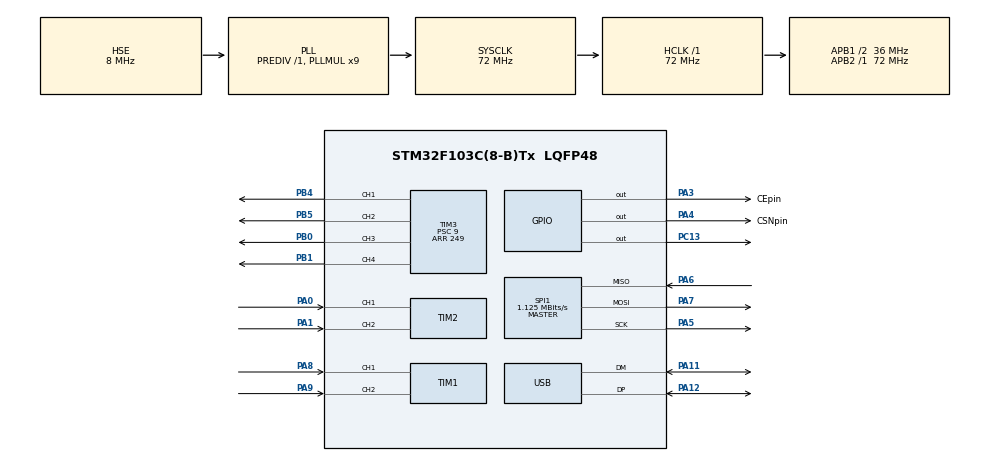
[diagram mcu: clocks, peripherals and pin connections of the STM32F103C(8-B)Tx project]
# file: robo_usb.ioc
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Mcu.Family=STM32F1
Mcu.Name=STM32F103C(8-B)Tx
Mcu.Package=LQFP48
NVIC.PriorityGroup=NVIC_PRIORITYGROUP_4
NVIC.TIM4_IRQn=true\:0\:0\:false\:false\:true\:true\:true\:true
NVIC.USB_LP_CAN1_RX0_IRQn=true\:0\:0\:false\:false\:true\:false\:true\:true
PA0-WKUP.GPIO_PuPd=GPIO_PULLUP
PA0-WKUP.Signal=S_TIM2_CH1_ETR
PA1.GPIO_PuPd=GPIO_PULLUP
PA1.Signal=S_TIM2_CH2
PA11.Mode=Device
PA11.Signal=USB_DM
PA12.Mode=Device
PA12.Signal=USB_DP
PA13.Mode=Trace_Asynchronous_SW
PA13.Signal=SYS_JTMS-SWDIO
PA14.Mode=Trace_Asynchronous_SW
PA14.Signal=SYS_JTCK-SWCLK
PA3.GPIO_Label=CEpin
PA3.Signal=GPIO_Output
PA4.GPIO_Label=CSNpin
PA4.Signal=GPIO_Output
PA5.Mode=Full_Duplex_Master
PA5.Signal=SPI1_SCK
PA6.Mode=Full_Duplex_Master
PA6.Signal=SPI1_MISO
PA7.Mode=Full_Duplex_Master
PA7.Signal=SPI1_MOSI
PA8.GPIO_PuPd=GPIO_PULLUP
PA8.Signal=S_TIM1_CH1
PA9.GPIO_PuPd=GPIO_PULLUP
PA9.Signal=S_TIM1_CH2
PB0.Signal=S_TIM3_CH3
PB1.Signal=S_TIM3_CH4
PB3.Mode=Trace_Asynchronous_SW
PB3.Signal=SYS_JTDO-TRACESWO
PB4.Signal=S_TIM3_CH1
PB5.Signal=S_TIM3_CH2
PC13-TAMPER-RTC.Signal=GPIO_Output
PD0-OSC_IN.Mode=HSE-External-Oscillator
PD0-OSC_IN.Signal=RCC_OSC_IN
PD1-OSC_OUT.Mode=HSE-External-Oscillator
PD1-OSC_OUT.Signal=RCC_OSC_OUT
ProjectManager.HeapSize=0x200
ProjectManager.StackSize=0x400
ProjectManager.TargetToolchain=STM32CubeIDE
RCC.AHBFreq_Value=72000000
RCC.APB1CLKDivider=RCC_HCLK_DIV2
RCC.APB1Freq_Value=36000000
RCC.APB1TimFreq_Value=72000000
RCC.APB2Freq_Value=72000000
RCC.APB2TimFreq_Value=72000000
RCC.HCLKFreq_Value=72000000
RCC.PLLMUL=RCC_PLL_MUL9
RCC.SYSCLKFreq_VALUE=72000000
RCC.SYSCLKSource=RCC_SYSCLKSOURCE_PLLCLK
RCC.USBFreq_Value=48000000
RCC.USBPrescaler=RCC_USBCLKSOURCE_PLL_DIV1_5
SH.S_TIM1_CH1.0=TIM1_CH1,Encoder_Interface
SH.S_TIM1_CH2.0=TIM1_CH2,Encoder_Interface
SH.S_TIM2_CH1_ETR.0=TIM2_CH1,Encoder_Interface
SH.S_TIM2_CH2.0=TIM2_CH2,Encoder_Interface
SH.S_TIM3_CH1.0=TIM3_CH1,PWM Generation1 CH1
SH.S_TIM3_CH2.0=TIM3_CH2,PWM Generation2 CH2
SH.S_TIM3_CH3.0=TIM3_CH3,PWM Generation3 CH3
SH.S_TIM3_CH4.0=TIM3_CH4,PWM Generation4 CH4
SPI1.BaudRatePrescaler=SPI_BAUDRATEPRESCALER_64
SPI1.CalculateBaudRate=1.125 MBits/s
SPI1.Direction=SPI_DIRECTION_2LINES
SPI1.Mode=SPI_MODE_MASTER
SPI1.VirtualType=VM_MASTER
TIM1.EncoderMode=TIM_ENCODERMODE_TI12
TIM2.EncoderMode=TIM_ENCODERMODE_TI12
TIM3.Channel-PWM\ Generation1\ CH1=TIM_CHANNEL_1
TIM3.Channel-PWM\ Generation2\ CH2=TIM_CHANNEL_2
TIM3.Channel-PWM\ Generation3\ CH3=TIM_CHANNEL_3
TIM3.Channel-PWM\ Generation4\ CH4=TIM_CHANNEL_4
TIM3.Period=249
TIM3.Prescaler=9
TIM4.Period=9999
TIM4.Prescaler=71
USB_DEVICE.APP_RX_DATA_SIZE=64
USB_DEVICE.APP_TX_DATA_SIZE=64
USB_DEVICE.CLASS_NAME_FS=CDC
USB_DEVICE.VirtualMode=Cdc
USB_DEVICE.VirtualModeFS=Cdc_FS
VP_TIM4_VS_ClockSourceINT.Mode=Internal
VP_USB_DEVICE_VS_USB_DEVICE_CDC_FS.Mode=CDC_FS
board=custom

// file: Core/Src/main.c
/* USER CODE BEGIN Header */
/**
  ******************************************************************************
  * @file           : main.c
  * @brief          : Main program body
  ******************************************************************************
  * @attention
  *
  * Copyright (c) 2023 STMicroelectronics.
  * All rights reserved.
  *
  * This software is licensed under terms that can be found in the LICENSE file
  * in the root directory of this software component.
  * If no LICENSE file comes with this software, it is provided AS-IS.
  *
  ******************************************************************************
  */
/* USER CODE END Header */
#include "main.h"
#include "usb_device.h"

/* USER CODE BEGIN Includes */
#include "usbd_cdc_if.h"
#include "MY_NRF24.h"
/* USER CODE END Includes */

SPI_HandleTypeDef hspi1;

TIM_HandleTypeDef htim1;
TIM_HandleTypeDef htim2;
TIM_HandleTypeDef htim3;
TIM_HandleTypeDef htim4;

/* USER CODE BEGIN PV */
uint8_t buff_radio = 16;
uint8_t entrada[10]; //buffer para guardar os dados recebidos
uint8_t saida[8]; //buffer para guardar os dados a seren enviados
uint8_t temdados = 0; // tipo um Kbhit aqui (quantos bytes pra ler)
uint8_t comando1 = 0; //pwm do motor 1 de 0 a 250 (28800 KHz)
uint8_t comando2 = 0; //pwm do motor 2 de 0 a 250 (28800 KHz)
uint8_t logica = 0;
short  enc1 = 32000;
short  enc2 = 32000;
short  encvel1 = 0;
short  encvel2 = 0;
short  sp = 0;
uint64_t RxpipeAddrs = 0x11223344AA; // endereço 1 do radio (enviar)
uint64_t TxpipeAddrs = 0x11223344BB; // endereço 2 do radio (receber)
uint8_t myRxData[16]; //colocar o valor de buff_radio
uint8_t myTxData[16]; //colocar o valor de buff_radio
uint8_t cont = 0;
/* USER CODE END PV */

void SystemClock_Config(void);
static void MX_GPIO_Init(void);
static void MX_TIM4_Init(void);
static void MX_SPI1_Init(void);
static void MX_TIM1_Init(void);
static void MX_TIM2_Init(void);
static void MX_TIM3_Init(void);
/* USER CODE BEGIN PFP */
int abs(int);
/* USER CODE END PFP */

int main(void)
{

  /* MCU Configuration--------------------------------------------------------*/

  /* Reset of all peripherals, Initializes the Flash interface and the Systick. */
  HAL_Init();

  /* USER CODE BEGIN Init */
  //HAL_Delay(500); //500 ms antes de começar
  /* USER CODE END Init */

  /* Configure the system clock */
  SystemClock_Config();

  /* Initialize all configured peripherals */
  MX_GPIO_Init();
  MX_USB_DEVICE_Init();
  MX_TIM4_Init();
  MX_SPI1_Init();
  MX_TIM1_Init();
  MX_TIM2_Init();
  MX_TIM3_Init();
  /* USER CODE BEGIN 2 */
  HAL_TIM_Encoder_Start(&htim1, TIM_CHANNEL_ALL);
  HAL_TIM_Encoder_Start(&htim2, TIM_CHANNEL_ALL);
  TIM2->CNT = 32000; //meio de escala da velocidade (velocidade inicial igual a zero)
  TIM1->CNT = 32000; //meio de escala da velocidade (velocidade inicial igual a zero)
  HAL_TIM_PWM_Start(&htim3, TIM_CHANNEL_1); // inicializa o PWM 1  M1
  HAL_TIM_PWM_Start(&htim3, TIM_CHANNEL_2); // inicializa o PWM 2  M1
  HAL_TIM_PWM_Start(&htim3, TIM_CHANNEL_3); // inicializa o PWM 3  M2
  HAL_TIM_PWM_Start(&htim3, TIM_CHANNEL_4); // inicializa o PWM 4  M2
  htim3.Instance->CCR1 = comando1; //pwm do motor 1 de 0 a 250 (28800 KHz)
  htim3.Instance->CCR2 = comando1; //pwm do motor 2 de 0 a 250 (28800 KHz)
  htim3.Instance->CCR3 = comando2; //pwm do motor 1 de 0 a 250 (28800 KHz)
  htim3.Instance->CCR4 = comando2; //pwm do motor 2 de 0 a 250 (28800 KHz)

  HAL_TIM_Base_Start_IT(&htim4);
//  HAL_TIM_Base_Start_IT(&htim2);
 /////////////////////**** RECEPTOR ****///////////////////////////
	NRF24_begin(CSNpin_GPIO_Port,CEpin_GPIO_Port,CSNpin_Pin,CEpin_Pin,hspi1);
	printRadioSettings();
	NRF24_setAutoAck(false);      //Ativar para o caso de reconhecimento
	NRF24_setChannel(52);         //Deve ser o mesmo do receptor
	NRF24_setPayloadSize(buff_radio);
	NRF24_openWritingPipe(TxpipeAddrs);
	NRF24_openReadingPipe(1, RxpipeAddrs);

//    HAL_Delay(500); //500 ms antes de começar
//    HAL_GPIO_TogglePin(GPIOC, GPIO_PIN_13); //pisca led

  /* USER CODE END 2 */

  /* Infinite loop */
  /* USER CODE BEGIN WHILE */
	NRF24_startListening();
	while(cont<buff_radio)
	  {
		myTxData[cont]=0;
		myRxData[cont]=0;
		cont++;
	  }
	  cont = 0;
  while (1)
  {
	 if(NRF24_available()) //verifica se há dados disponíveis
	{
		NRF24_read(myRxData, buff_radio); // Lê dados recebido (32 bytes)
		if (myRxData[0] == 254) //se o pacote chegou na ordem certa
			{
			// aqui falta fazer interpretação da lógica de direção (tá no byte 7 - oitavo)
			logica = myRxData[7];
			comando1 = myRxData[8]; //M1
			comando2 = myRxData[9]; //M2
	 	 	if (logica == 10) //velocidade + +
				{
				  htim3.Instance->CCR1 = comando1; //pwm do motor 1 de 0 a 250 (28800 KHz) M1+
				  htim3.Instance->CCR2 = 0;        //pwm do motor 2 de 0 a 250 (28800 KHz) M1-
				  htim3.Instance->CCR3 = comando2; //pwm do motor 1 de 0 a 250 (28800 KHz) M2+
				  htim3.Instance->CCR4 = 0;        //pwm do motor 2 de 0 a 250 (28800 KHz) M2-
				}
			if (logica == 18) //volocidade + -
				{
				  htim3.Instance->CCR1 = comando1; //pwm do motor 1 de 0 a 250 (28800 KHz) M1+
				  htim3.Instance->CCR2 = 0;        //pwm do motor 2 de 0 a 250 (28800 KHz) M1-
				  htim3.Instance->CCR3 = 0;        //pwm do motor 1 de 0 a 250 (28800 KHz) M2+
				  htim3.Instance->CCR4 = comando2; //pwm do motor 2 de 0 a 250 (28800 KHz) M2-
				}
			if (logica == 12) //velocidade - +
				{
				  htim3.Instance->CCR1 = 0;        //pwm do motor 1 de 0 a 250 (28800 KHz) M1+
				  htim3.Instance->CCR2 = comando1; //pwm do motor 2 de 0 a 250 (28800 KHz) M1-
				  htim3.Instance->CCR3 = comando2; //pwm do motor 1 de 0 a 250 (28800 KHz) M2+
				  htim3.Instance->CCR4 = 0;        //pwm do motor 2 de 0 a 250 (28800 KHz) M2-
				}
			if (logica == 20) //velocidade  - -
				{
				  htim3.Instance->CCR1 = 0;        //pwm do motor 1 de 0 a 250 (28800 KHz) M1+
				  htim3.Instance->CCR2 = comando1; //pwm do motor 2 de 0 a 250 (28800 KHz) M1-
				  htim3.Instance->CCR3 = 0;        //pwm do motor 1 de 0 a 250 (28800 KHz) M2+
				  htim3.Instance->CCR4 = comando2; //pwm do motor 2 de 0 a 250 (28800 KHz) M2-
				}
			}
		HAL_GPIO_TogglePin(GPIOC, GPIO_PIN_13); //pisca led
	}else
	{
		if (entrada[0] == 254) //se o pacote chegou na ordem certa
			{
			// aqui falta fazer interpretação da lógica de direção (tá no byte 7 - oitavo)
			logica = entrada[7];
			comando1 = entrada[8]; //M1
			comando2 = entrada[9]; //M2
	 	 	if (logica == 10) //velocidade + +
				{
				  htim3.Instance->CCR1 = comando1; //pwm do motor 1 de 0 a 250 (28800 KHz) M1+
				  htim3.Instance->CCR2 = 0;        //pwm do motor 2 de 0 a 250 (28800 KHz) M1-
				  htim3.Instance->CCR3 = comando2; //pwm do motor 1 de 0 a 250 (28800 KHz) M2+
				  htim3.Instance->CCR4 = 0;        //pwm do motor 2 de 0 a 250 (28800 KHz) M2-
				}
			if (logica == 18) //volocidade + -
				{
				  htim3.Instance->CCR1 = comando1; //pwm do motor 1 de 0 a 250 (28800 KHz) M1+
				  htim3.Instance->CCR2 = 0;        //pwm do motor 2 de 0 a 250 (28800 KHz) M1-
				  htim3.Instance->CCR3 = 0;        //pwm do motor 1 de 0 a 250 (28800 KHz) M2+
				  htim3.Instance->CCR4 = comando2; //pwm do motor 2 de 0 a 250 (28800 KHz) M2-
				}
			if (logica == 12) //velocidade - +
				{
				  htim3.Instance->CCR1 = 0;        //pwm do motor 1 de 0 a 250 (28800 KHz) M1+
				  htim3.Instance->CCR2 = comando1; //pwm do motor 2 de 0 a 250 (28800 KHz) M1-
				  htim3.Instance->CCR3 = comando2; //pwm do motor 1 de 0 a 250 (28800 KHz) M2+
				  htim3.Instance->CCR4 = 0;        //pwm do motor 2 de 0 a 250 (28800 KHz) M2-
				}
			if (logica == 20) //velocidade  - -
				{
				  htim3.Instance->CCR1 = 0;        //pwm do motor 1 de 0 a 250 (28800 KHz) M1+
				  htim3.Instance->CCR2 = comando1; //pwm do motor 2 de 0 a 250 (28800 KHz) M1-
				  htim3.Instance->CCR3 = 0;        //pwm do motor 1 de 0 a 250 (28800 KHz) M2+
				  htim3.Instance->CCR4 = comando2; //pwm do motor 2 de 0 a 250 (28800 KHz) M2-
				}
			}
	}
	 NRF24_stopListening();
	 myTxData[0] = enc1;
	 myTxData[1] = enc1>>8;
	 myTxData[2] = enc2;
	 myTxData[3] = enc2>>8;
	 myTxData[4] = encvel1;
	 myTxData[5] = encvel1>>8;
	 myTxData[6] = encvel2;
	 myTxData[7] = encvel2>>8;
	 NRF24_write(myTxData, buff_radio);
	 NRF24_startListening();

	 // Envia na serial tbm
	 for(cont = 0; cont < 8; cont++)
		{
		 saida[cont] = myTxData[cont];
		}
	 CDC_Transmit_FS(saida, 8);

/* // código para testar se tá funcionando o acionamento, sem usar o radio (old)
	  if (sp == 1)
	  {
		  htim3.Instance->CCR3 = comando1; //pwm do motor 1 de 0 a 250 (28800 KHz)
		  htim3.Instance->CCR4 = comando2; //pwm do motor 2 de 0 a 250 (28800 KHz)
		  HAL_GPIO_WritePin(GPIOB, GPIO_PIN_12, GPIO_PIN_RESET); //M1_a
		  HAL_GPIO_WritePin(GPIOB, GPIO_PIN_13, GPIO_PIN_SET); //M1_b
		  HAL_GPIO_WritePin(GPIOB, GPIO_PIN_14, GPIO_PIN_RESET); //M2_a
		  HAL_GPIO_WritePin(GPIOB, GPIO_PIN_15, GPIO_PIN_SET); //M2_b
		  HAL_GPIO_TogglePin(GPIOC, GPIO_PIN_13); //pisca led
	  }
	  if (sp == 0)
	  {
		  htim3.Instance->CCR3 = 250; //pwm do motor 1 de 0 a 250 (28800 KHz)
		  htim3.Instance->CCR4 = 250; //pwm do motor 2 de 0 a 250 (28800 KHz)
		  HAL_GPIO_WritePin(GPIOB, GPIO_PIN_12, GPIO_PIN_RESET); //M1_a
		  HAL_GPIO_WritePin(GPIOB, GPIO_PIN_13, GPIO_PIN_SET); //M1_b
		  HAL_GPIO_WritePin(GPIOB, GPIO_PIN_14, GPIO_PIN_RESET); //M2_a
		  HAL_GPIO_WritePin(GPIOB, GPIO_PIN_15, GPIO_PIN_SET); //M2_b
		  HAL_GPIO_TogglePin(GPIOC, GPIO_PIN_13); //pisca led
	  }   */

/* // comandos para enviar direto pela USB no lugar do radio (Raspberry)
    saida[0] = enc1;
	saida[1] = enc1>>8;
	saida[2] = enc2;
	saida[3] = enc2>>8;
	saida[4] = encvel1;
	saida[5] = encvel1>>8;
	saida[6] = encvel2;
	saida[7] = encvel2>>8;
	CDC_Transmit_FS(saida,8);

	*/

    /* USER CODE END WHILE */

    /* USER CODE BEGIN 3 */
  }  // fecha o while(1)
  /* USER CODE END 3 */
}

void SystemClock_Config(void)
{
  RCC_OscInitTypeDef RCC_OscInitStruct = {0};
  RCC_ClkInitTypeDef RCC_ClkInitStruct = {0};
  RCC_PeriphCLKInitTypeDef PeriphClkInit = {0};

  /** Initializes the RCC Oscillators according to the specified parameters
  * in the RCC_OscInitTypeDef structure.
  */
  RCC_OscInitStruct.OscillatorType = RCC_OSCILLATORTYPE_HSE;
  RCC_OscInitStruct.HSEState = RCC_HSE_ON;
  RCC_OscInitStruct.HSEPredivValue = RCC_HSE_PREDIV_DIV1;
  RCC_OscInitStruct.HSIState = RCC_HSI_ON;
  RCC_OscInitStruct.PLL.PLLState = RCC_PLL_ON;
  RCC_OscInitStruct.PLL.PLLSource = RCC_PLLSOURCE_HSE;
  RCC_OscInitStruct.PLL.PLLMUL = RCC_PLL_MUL9;
  if (HAL_RCC_OscConfig(&RCC_OscInitStruct) != HAL_OK)
  {
    Error_Handler();
  }

  /** Initializes the CPU, AHB and APB buses clocks
  */
  RCC_ClkInitStruct.ClockType = RCC_CLOCKTYPE_HCLK|RCC_CLOCKTYPE_SYSCLK
                              |RCC_CLOCKTYPE_PCLK1|RCC_CLOCKTYPE_PCLK2;
  RCC_ClkInitStruct.SYSCLKSource = RCC_SYSCLKSOURCE_PLLCLK;
  RCC_ClkInitStruct.AHBCLKDivider = RCC_SYSCLK_DIV1;
  RCC_ClkInitStruct.APB1CLKDivider = RCC_HCLK_DIV2;
  RCC_ClkInitStruct.APB2CLKDivider = RCC_HCLK_DIV1;

  if (HAL_RCC_ClockConfig(&RCC_ClkInitStruct, FLASH_LATENCY_2) != HAL_OK)
  {
    Error_Handler();
  }
  PeriphClkInit.PeriphClockSelection = RCC_PERIPHCLK_USB;
  PeriphClkInit.UsbClockSelection = RCC_USBCLKSOURCE_PLL_DIV1_5;
  if (HAL_RCCEx_PeriphCLKConfig(&PeriphClkInit) != HAL_OK)
  {
    Error_Handler();
  }
}

static void MX_SPI1_Init(void)
{

  /* SPI1 parameter configuration*/
  hspi1.Instance = SPI1;
  hspi1.Init.Mode = SPI_MODE_MASTER;
  hspi1.Init.Direction = SPI_DIRECTION_2LINES;
  hspi1.Init.DataSize = SPI_DATASIZE_8BIT;
  hspi1.Init.CLKPolarity = SPI_POLARITY_LOW;
  hspi1.Init.CLKPhase = SPI_PHASE_1EDGE;
  hspi1.Init.NSS = SPI_NSS_SOFT;
  hspi1.Init.BaudRatePrescaler = SPI_BAUDRATEPRESCALER_64;
  hspi1.Init.FirstBit = SPI_FIRSTBIT_MSB;
  hspi1.Init.TIMode = SPI_TIMODE_DISABLE;
  hspi1.Init.CRCCalculation = SPI_CRCCALCULATION_DISABLE;
  hspi1.Init.CRCPolynomial = 10;
  if (HAL_SPI_Init(&hspi1) != HAL_OK)
  {
    Error_Handler();
  }

}

static void MX_TIM1_Init(void)
{

  TIM_Encoder_InitTypeDef sConfig = {0};
  TIM_MasterConfigTypeDef sMasterConfig = {0};

  htim1.Instance = TIM1;
  htim1.Init.Prescaler = 0;
  htim1.Init.CounterMode = TIM_COUNTERMODE_UP;
  htim1.Init.Period = 65535;
  htim1.Init.ClockDivision = TIM_CLOCKDIVISION_DIV1;
  htim1.Init.RepetitionCounter = 0;
  htim1.Init.AutoReloadPreload = TIM_AUTORELOAD_PRELOAD_DISABLE;
  sConfig.EncoderMode = TIM_ENCODERMODE_TI12;
  sConfig.IC1Polarity = TIM_ICPOLARITY_RISING;
  sConfig.IC1Selection = TIM_ICSELECTION_DIRECTTI;
  sConfig.IC1Prescaler = TIM_ICPSC_DIV1;
  sConfig.IC1Filter = 0;
  sConfig.IC2Polarity = TIM_ICPOLARITY_RISING;
  sConfig.IC2Selection = TIM_ICSELECTION_DIRECTTI;
  sConfig.IC2Prescaler = TIM_ICPSC_DIV1;
  sConfig.IC2Filter = 0;
  if (HAL_TIM_Encoder_Init(&htim1, &sConfig) != HAL_OK)
  {
    Error_Handler();
  }
  sMasterConfig.MasterOutputTrigger = TIM_TRGO_RESET;
  sMasterConfig.MasterSlaveMode = TIM_MASTERSLAVEMODE_DISABLE;
  if (HAL_TIMEx_MasterConfigSynchronization(&htim1, &sMasterConfig) != HAL_OK)
  {
    Error_Handler();
  }

}

static void MX_TIM2_Init(void)
{

  TIM_Encoder_InitTypeDef sConfig = {0};
  TIM_MasterConfigTypeDef sMasterConfig = {0};

  htim2.Instance = TIM2;
  htim2.Init.Prescaler = 0;
  htim2.Init.CounterMode = TIM_COUNTERMODE_UP;
  htim2.Init.Period = 65535;
  htim2.Init.ClockDivision = TIM_CLOCKDIVISION_DIV1;
  htim2.Init.AutoReloadPreload = TIM_AUTORELOAD_PRELOAD_DISABLE;
  sConfig.EncoderMode = TIM_ENCODERMODE_TI12;
  sConfig.IC1Polarity = TIM_ICPOLARITY_RISING;
  sConfig.IC1Selection = TIM_ICSELECTION_DIRECTTI;
  sConfig.IC1Prescaler = TIM_ICPSC_DIV1;
  sConfig.IC1Filter = 0;
  sConfig.IC2Polarity = TIM_ICPOLARITY_RISING;
  sConfig.IC2Selection = TIM_ICSELECTION_DIRECTTI;
  sConfig.IC2Prescaler = TIM_ICPSC_DIV1;
  sConfig.IC2Filter = 0;
  if (HAL_TIM_Encoder_Init(&htim2, &sConfig) != HAL_OK)
  {
    Error_Handler();
  }
  sMasterConfig.MasterOutputTrigger = TIM_TRGO_RESET;
  sMasterConfig.MasterSlaveMode = TIM_MASTERSLAVEMODE_DISABLE;
  if (HAL_TIMEx_MasterConfigSynchronization(&htim2, &sMasterConfig) != HAL_OK)
  {
    Error_Handler();
  }

}

static void MX_TIM3_Init(void)
{

  TIM_MasterConfigTypeDef sMasterConfig = {0};
  TIM_OC_InitTypeDef sConfigOC = {0};

  htim3.Instance = TIM3;
  htim3.Init.Prescaler = 9;
  htim3.Init.CounterMode = TIM_COUNTERMODE_UP;
  htim3.Init.Period = 249;
  htim3.Init.ClockDivision = TIM_CLOCKDIVISION_DIV1;
  htim3.Init.AutoReloadPreload = TIM_AUTORELOAD_PRELOAD_DISABLE;
  if (HAL_TIM_PWM_Init(&htim3) != HAL_OK)
  {
    Error_Handler();
  }
  sMasterConfig.MasterOutputTrigger = TIM_TRGO_RESET;
  sMasterConfig.MasterSlaveMode = TIM_MASTERSLAVEMODE_DISABLE;
  if (HAL_TIMEx_MasterConfigSynchronization(&htim3, &sMasterConfig) != HAL_OK)
  {
    Error_Handler();
  }
  sConfigOC.OCMode = TIM_OCMODE_PWM1;
  sConfigOC.Pulse = 0;
  sConfigOC.OCPolarity = TIM_OCPOLARITY_HIGH;
  sConfigOC.OCFastMode = TIM_OCFAST_DISABLE;
  if (HAL_TIM_PWM_ConfigChannel(&htim3, &sConfigOC, TIM_CHANNEL_1) != HAL_OK)
  {
    Error_Handler();
  }
  if (HAL_TIM_PWM_ConfigChannel(&htim3, &sConfigOC, TIM_CHANNEL_2) != HAL_OK)
  {
    Error_Handler();
  }
  if (HAL_TIM_PWM_ConfigChannel(&htim3, &sConfigOC, TIM_CHANNEL_3) != HAL_OK)
  {
    Error_Handler();
  }
  if (HAL_TIM_PWM_ConfigChannel(&htim3, &sConfigOC, TIM_CHANNEL_4) != HAL_OK)
  {
    Error_Handler();
  }
  HAL_TIM_MspPostInit(&htim3);

}

static void MX_TIM4_Init(void)
{

  TIM_ClockConfigTypeDef sClockSourceConfig = {0};
  TIM_MasterConfigTypeDef sMasterConfig = {0};

  htim4.Instance = TIM4;
  htim4.Init.Prescaler = 71;
  htim4.Init.CounterMode = TIM_COUNTERMODE_UP;
  htim4.Init.Period = 9999;
  htim4.Init.ClockDivision = TIM_CLOCKDIVISION_DIV1;
  htim4.Init.AutoReloadPreload = TIM_AUTORELOAD_PRELOAD_DISABLE;
  if (HAL_TIM_Base_Init(&htim4) != HAL_OK)
  {
    Error_Handler();
  }
  sClockSourceConfig.ClockSource = TIM_CLOCKSOURCE_INTERNAL;
  if (HAL_TIM_ConfigClockSource(&htim4, &sClockSourceConfig) != HAL_OK)
  {
    Error_Handler();
  }
  sMasterConfig.MasterOutputTrigger = TIM_TRGO_RESET;
  sMasterConfig.MasterSlaveMode = TIM_MASTERSLAVEMODE_DISABLE;
  if (HAL_TIMEx_MasterConfigSynchronization(&htim4, &sMasterConfig) != HAL_OK)
  {
    Error_Handler();
  }

}

static void MX_GPIO_Init(void)
{
  GPIO_InitTypeDef GPIO_InitStruct = {0};

  /* GPIO Ports Clock Enable */
  __HAL_RCC_GPIOC_CLK_ENABLE();
  __HAL_RCC_GPIOD_CLK_ENABLE();
  __HAL_RCC_GPIOA_CLK_ENABLE();
  __HAL_RCC_GPIOB_CLK_ENABLE();

  /*Configure GPIO pin Output Level */
  HAL_GPIO_WritePin(GPIOC, GPIO_PIN_13, GPIO_PIN_RESET);

  /*Configure GPIO pin Output Level */
  HAL_GPIO_WritePin(GPIOA, CEpin_Pin|CSNpin_Pin, GPIO_PIN_RESET);

  /*Configure GPIO pin : PC13 */
  GPIO_InitStruct.Pin = GPIO_PIN_13;
  GPIO_InitStruct.Mode = GPIO_MODE_OUTPUT_PP;
  GPIO_InitStruct.Pull = GPIO_NOPULL;
  GPIO_InitStruct.Speed = GPIO_SPEED_FREQ_LOW;
  HAL_GPIO_Init(GPIOC, &GPIO_InitStruct);

  /*Configure GPIO pins : CEpin_Pin CSNpin_Pin */
  GPIO_InitStruct.Pin = CEpin_Pin|CSNpin_Pin;
  GPIO_InitStruct.Mode = GPIO_MODE_OUTPUT_PP;
  GPIO_InitStruct.Pull = GPIO_NOPULL;
  GPIO_InitStruct.Speed = GPIO_SPEED_FREQ_LOW;
  HAL_GPIO_Init(GPIOA, &GPIO_InitStruct);

}

void Error_Handler(void)
{
  __disable_irq();
  while (1)
  {
  }
}
